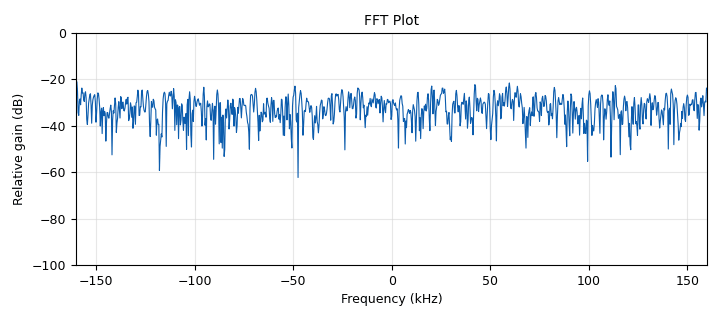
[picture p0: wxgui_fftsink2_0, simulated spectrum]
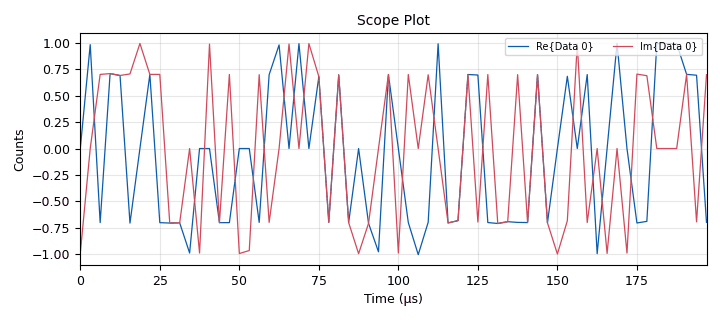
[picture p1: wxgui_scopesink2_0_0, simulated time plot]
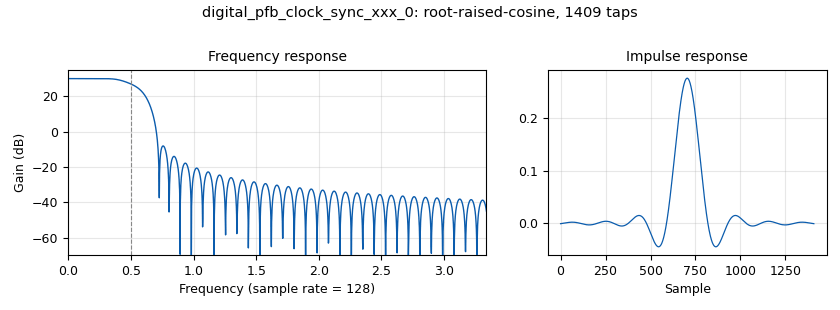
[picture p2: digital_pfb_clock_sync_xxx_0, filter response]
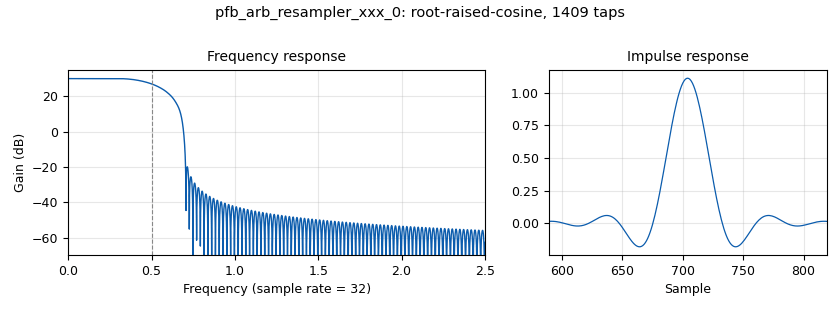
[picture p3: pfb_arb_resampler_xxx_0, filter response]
<?xml version='1.0' encoding='utf-8'?>
<?grc format='1' created='3.7.9'?>
<flow_graph>
<block>
<key>options</key>
<param><key>id</key><value>top_block</value></param>
<param><key>category</key><value>Custom</value></param>
<param><key>generate_options</key><value>wx_gui</value></param>
</block>
<block>
<key>variable</key>
<param><key>id</key><value>const_points</value></param>
<param><key>value</key><value>8</value></param>
</block>
<block>
<key>variable</key>
<param><key>id</key><value>excess_bw</value></param>
<param><key>value</key><value>0.4</value></param>
</block>
<block>
<key>variable</key>
<param><key>id</key><value>freq_bw</value></param>
<param><key>value</key><value>2*pi/100</value></param>
</block>
<block>
<key>variable</key>
<param><key>id</key><value>nfilts</value></param>
<param><key>value</key><value>32</value></param>
</block>
<block>
<key>variable</key>
<param><key>id</key><value>ntaps</value></param>
<param><key>value</key><value>11*nfilts*sps</value></param>
</block>
<block>
<key>variable</key>
<param><key>id</key><value>output_sps</value></param>
<param><key>value</key><value>1</value></param>
</block>
<block>
<key>variable</key>
<param><key>id</key><value>rx_taps</value></param>
<param><key>value</key><value>firdes.root_raised_cosine(nfilts, nfilts*sps, 1.0,excess_bw, ntaps)</value></param>
</block>
<block>
<key>variable</key>
<param><key>id</key><value>samp_rate</value></param>
<param><key>value</key><value>320000</value></param>
</block>
<block>
<key>variable</key>
<param><key>id</key><value>sps</value></param>
<param><key>value</key><value>4</value></param>
</block>
<block>
<key>variable</key>
<param><key>id</key><value>symb_samp_rate</value></param>
<param><key>value</key><value>20000</value></param>
</block>
<block>
<key>variable</key>
<param><key>id</key><value>timing_bw</value></param>
<param><key>value</key><value>2*pi/100</value></param>
</block>
<block>
<key>variable</key>
<param><key>id</key><value>tx_taps</value></param>
<param><key>value</key><value>firdes.root_raised_cosine(nfilts,nfilts,1.0,excess_bw,ntaps)</value></param>
</block>
<block>
<key>analog_phase_modulator_fc</key>
<param><key>id</key><value>analog_phase_modulator_fc_0</value></param>
<param><key>sensitivity</key><value>-1</value></param>
</block>
<block>
<key>analog_random_source_x</key>
<param><key>id</key><value>analog_random_source_x_0_0</value></param>
<param><key>max</key><value>const_points</value></param>
<param><key>min</key><value>0</value></param>
<param><key>num_samps</key><value>1000</value></param>
<param><key>type</key><value>byte</value></param>
<param><key>repeat</key><value>True</value></param>
</block>
<block>
<key>analog_sig_source_x</key>
<param><key>id</key><value>analog_sig_source_x_0</value></param>
<param><key>amp</key><value>1</value></param>
<param><key>freq</key><value>10e3</value></param>
<param><key>offset</key><value>0</value></param>
<param><key>type</key><value>complex</value></param>
<param><key>samp_rate</key><value>samp_rate*sps</value></param>
<param><key>waveform</key><value>analog.GR_COS_WAVE</value></param>
</block>
<block>
<key>blocks_complex_to_arg</key>
<param><key>id</key><value>blocks_complex_to_arg_0</value></param>
</block>
<block>
<key>blocks_complex_to_arg</key>
<param><key>id</key><value>blocks_complex_to_arg_0_0</value></param>
</block>
<block>
<key>blocks_delay</key>
<param><key>id</key><value>blocks_delay_0</value></param>
<param><key>delay</key><value>1</value></param>
<param><key>type</key><value>complex</value></param>
</block>
<block>
<key>blocks_multiply_conjugate_cc</key>
<param><key>id</key><value>blocks_multiply_conjugate_cc_0</value></param>
</block>
<block>
<key>blocks_multiply_conjugate_cc</key>
<param><key>id</key><value>blocks_multiply_conjugate_cc_1</value></param>
</block>
<block>
<key>blocks_multiply_const_vxx</key>
<param><key>id</key><value>blocks_multiply_const_vxx_0</value></param>
<param><key>const</key><value>1.0/const_points</value></param>
<param><key>type</key><value>float</value></param>
</block>
<block>
<key>blocks_multiply_const_vxx</key>
<param><key>id</key><value>blocks_multiply_const_vxx_0_0</value></param>
<param><key>const</key><value>1.0/const_points</value></param>
<param><key>type</key><value>float</value></param>
</block>
<block>
<key>blocks_multiply_xx</key>
<param><key>id</key><value>blocks_multiply_xx_0</value></param>
<param><key>type</key><value>complex</value></param>
</block>
<block>
<key>blocks_multiply_xx</key>
<param><key>id</key><value>blocks_multiply_xx_1</value></param>
<param><key>type</key><value>complex</value></param>
</block>
<block>
<key>blocks_multiply_xx</key>
<param><key>id</key><value>blocks_multiply_xx_1_0</value></param>
<param><key>type</key><value>complex</value></param>
</block>
<block>
<key>blocks_multiply_xx</key>
<param><key>id</key><value>blocks_multiply_xx_2</value></param>
<param><key>type</key><value>complex</value></param>
</block>
<block>
<key>blocks_multiply_xx</key>
<param><key>id</key><value>blocks_multiply_xx_2_0</value></param>
<param><key>type</key><value>complex</value></param>
</block>
<block>
<key>blocks_multiply_xx</key>
<param><key>id</key><value>blocks_multiply_xx_2_0_0</value></param>
<param><key>type</key><value>complex</value></param>
</block>
<block>
<key>blocks_multiply_xx</key>
<param><key>id</key><value>blocks_multiply_xx_2_1</value></param>
<param><key>type</key><value>complex</value></param>
</block>
<block>
<key>blocks_multiply_xx</key>
<param><key>id</key><value>blocks_multiply_xx_3</value></param>
<param><key>type</key><value>complex</value></param>
</block>
<block>
<key>blocks_throttle</key>
<param><key>id</key><value>blocks_throttle_0</value></param>
<param><key>samples_per_second</key><value>samp_rate</value></param>
<param><key>type</key><value>complex</value></param>
</block>
<block>
<key>blocks_vco_c</key>
<param><key>id</key><value>blocks_vco_c_0_0</value></param>
<param><key>amplitude</key><value>1</value></param>
<param><key>samp_rate</key><value>samp_rate</value></param>
<param><key>sensitivity</key><value>samp_rate</value></param>
</block>
<block>
<key>digital_chunks_to_symbols_xx</key>
<param><key>id</key><value>digital_chunks_to_symbols_xx_0_0</value></param>
<param><key>dimension</key><value>1</value></param>
<param><key>in_type</key><value>byte</value></param>
<param><key>out_type</key><value>complex</value></param>
<param><key>symbol_table</key><value>((1+0j),(1+1j)/sqrt(2),(0+1j),(1-1j)/sqrt(2),(-1 + 0j),(-1-1j)/sqrt(2),(0-1j),(-1+1j)/sqrt(2))</value></param>
</block>
<block>
<key>digital_pfb_clock_sync_xxx</key>
<param><key>id</key><value>digital_pfb_clock_sync_xxx_0</value></param>
<param><key>filter_size</key><value>nfilts</value></param>
<param><key>init_phase</key><value>16</value></param>
<param><key>loop_bw</key><value>timing_bw</value></param>
<param><key>max_dev</key><value>1.5</value></param>
<param><key>osps</key><value>1</value></param>
<param><key>sps</key><value>sps</value></param>
<param><key>taps</key><value>rx_taps</value></param>
<param><key>type</key><value>ccf</value></param>
</block>
<block>
<key>import</key>
<param><key>id</key><value>import_0</value></param>
<param><key>import</key><value>from math import pi</value></param>
</block>
<block>
<key>notebook</key>
<param><key>id</key><value>notebook_1</value></param>
<param><key>labels</key><value>['time', 'fft','out','new']</value></param>
<param><key>style</key><value>wx.NB_TOP</value></param>
</block>
<block>
<key>pfb_arb_resampler_xxx</key>
<param><key>id</key><value>pfb_arb_resampler_xxx_0</value></param>
<param><key>nfilts</key><value>32</value></param>
<param><key>rrate</key><value>sps</value></param>
<param><key>atten</key><value>100</value></param>
<param><key>taps</key><value>tx_taps</value></param>
<param><key>type</key><value>ccf</value></param>
</block>
<block>
<key>import</key>
<param><key>id</key><value>sqrt</value></param>
<param><key>import</key><value>from math import sqrt</value></param>
</block>
<block>
<key>wxgui_fftsink2</key>
<param><key>id</key><value>wxgui_fftsink2_0</value></param>
<param><key>avg_alpha</key><value>0</value></param>
<param><key>average</key><value>False</value></param>
<param><key>baseband_freq</key><value>0</value></param>
<param><key>fft_size</key><value>1024</value></param>
<param><key>freqvar</key><value>None</value></param>
<param><key>notebook</key><value>notebook_1,1</value></param>
<param><key>peak_hold</key><value>False</value></param>
<param><key>ref_level</key><value>0</value></param>
<param><key>ref_scale</key><value>2.0</value></param>
<param><key>fft_rate</key><value>15</value></param>
<param><key>samp_rate</key><value>samp_rate</value></param>
<param><key>title</key><value>FFT Plot</value></param>
<param><key>type</key><value>complex</value></param>
<param><key>win</key><value>None</value></param>
<param><key>y_divs</key><value>10</value></param>
<param><key>y_per_div</key><value>10</value></param>
</block>
<block>
<key>wxgui_scopesink2</key>
<param><key>id</key><value>wxgui_scopesink2_0_0</value></param>
<param><key>ac_couple</key><value>False</value></param>
<param><key>notebook</key><value>notebook_1,0</value></param>
<param><key>num_inputs</key><value>1</value></param>
<param><key>samp_rate</key><value>samp_rate</value></param>
<param><key>t_scale</key><value>0</value></param>
<param><key>title</key><value>Scope Plot</value></param>
<param><key>trig_mode</key><value>wxgui.TRIG_MODE_AUTO</value></param>
<param><key>type</key><value>complex</value></param>
<param><key>v_offset</key><value>0</value></param>
<param><key>v_scale</key><value>0</value></param>
<param><key>xy_mode</key><value>False</value></param>
<param><key>y_axis_label</key><value>Counts</value></param>
</block>
<connection><source_block_id>analog_phase_modulator_fc_0</source_block_id><sink_block_id>blocks_multiply_xx_3</sink_block_id><source_key>0</source_key><sink_key>1</sink_key></connection>
<connection><source_block_id>analog_random_source_x_0_0</source_block_id><sink_block_id>digital_chunks_to_symbols_xx_0_0</sink_block_id><source_key>0</source_key><sink_key>0</sink_key></connection>
<connection><source_block_id>analog_sig_source_x_0</source_block_id><sink_block_id>blocks_multiply_xx_0</sink_block_id><source_key>0</source_key><sink_key>1</sink_key></connection>
<connection><source_block_id>blocks_complex_to_arg_0</source_block_id><sink_block_id>blocks_multiply_const_vxx_0</sink_block_id><source_key>0</source_key><sink_key>0</sink_key></connection>
<connection><source_block_id>blocks_complex_to_arg_0_0</source_block_id><sink_block_id>blocks_multiply_const_vxx_0_0</sink_block_id><source_key>0</source_key><sink_key>0</sink_key></connection>
<connection><source_block_id>blocks_delay_0</source_block_id><sink_block_id>blocks_multiply_conjugate_cc_0</sink_block_id><source_key>0</source_key><sink_key>1</sink_key></connection>
<connection><source_block_id>blocks_multiply_conjugate_cc_0</source_block_id><sink_block_id>blocks_complex_to_arg_0</sink_block_id><source_key>0</source_key><sink_key>0</sink_key></connection>
<connection><source_block_id>blocks_multiply_conjugate_cc_1</source_block_id><sink_block_id>blocks_multiply_xx_1_0</sink_block_id><source_key>0</source_key><sink_key>0</sink_key></connection>
<connection><source_block_id>blocks_multiply_conjugate_cc_1</source_block_id><sink_block_id>blocks_multiply_xx_1_0</sink_block_id><source_key>0</source_key><sink_key>1</sink_key></connection>
<connection><source_block_id>blocks_multiply_conjugate_cc_1</source_block_id><sink_block_id>blocks_multiply_xx_3</sink_block_id><source_key>0</source_key><sink_key>0</sink_key></connection>
<connection><source_block_id>blocks_multiply_const_vxx_0</source_block_id><sink_block_id>blocks_vco_c_0_0</sink_block_id><source_key>0</source_key><sink_key>0</sink_key></connection>
<connection><source_block_id>blocks_multiply_const_vxx_0_0</source_block_id><sink_block_id>analog_phase_modulator_fc_0</sink_block_id><source_key>0</source_key><sink_key>0</sink_key></connection>
<connection><source_block_id>blocks_multiply_xx_0</source_block_id><sink_block_id>digital_pfb_clock_sync_xxx_0</sink_block_id><source_key>0</source_key><sink_key>0</sink_key></connection>
<connection><source_block_id>blocks_multiply_xx_1</source_block_id><sink_block_id>blocks_multiply_xx_2</sink_block_id><source_key>0</source_key><sink_key>0</sink_key></connection>
<connection><source_block_id>blocks_multiply_xx_1</source_block_id><sink_block_id>blocks_multiply_xx_2</sink_block_id><source_key>0</source_key><sink_key>1</sink_key></connection>
<connection><source_block_id>blocks_multiply_xx_1_0</source_block_id><sink_block_id>blocks_multiply_xx_2_1</sink_block_id><source_key>0</source_key><sink_key>0</sink_key></connection>
<connection><source_block_id>blocks_multiply_xx_1_0</source_block_id><sink_block_id>blocks_multiply_xx_2_1</sink_block_id><source_key>0</source_key><sink_key>1</sink_key></connection>
<connection><source_block_id>blocks_multiply_xx_2</source_block_id><sink_block_id>blocks_multiply_xx_2_0</sink_block_id><source_key>0</source_key><sink_key>0</sink_key></connection>
<connection><source_block_id>blocks_multiply_xx_2</source_block_id><sink_block_id>blocks_multiply_xx_2_0</sink_block_id><source_key>0</source_key><sink_key>1</sink_key></connection>
<connection><source_block_id>blocks_multiply_xx_2_0</source_block_id><sink_block_id>blocks_delay_0</sink_block_id><source_key>0</source_key><sink_key>0</sink_key></connection>
<connection><source_block_id>blocks_multiply_xx_2_0</source_block_id><sink_block_id>blocks_multiply_conjugate_cc_0</sink_block_id><source_key>0</source_key><sink_key>0</sink_key></connection>
<connection><source_block_id>blocks_multiply_xx_2_0_0</source_block_id><sink_block_id>blocks_complex_to_arg_0_0</sink_block_id><source_key>0</source_key><sink_key>0</sink_key></connection>
<connection><source_block_id>blocks_multiply_xx_2_1</source_block_id><sink_block_id>blocks_multiply_xx_2_0_0</sink_block_id><source_key>0</source_key><sink_key>0</sink_key></connection>
<connection><source_block_id>blocks_multiply_xx_2_1</source_block_id><sink_block_id>blocks_multiply_xx_2_0_0</sink_block_id><source_key>0</source_key><sink_key>1</sink_key></connection>
<connection><source_block_id>blocks_multiply_xx_3</source_block_id><sink_block_id>wxgui_fftsink2_0</sink_block_id><source_key>0</source_key><sink_key>0</sink_key></connection>
<connection><source_block_id>blocks_multiply_xx_3</source_block_id><sink_block_id>wxgui_scopesink2_0_0</sink_block_id><source_key>0</source_key><sink_key>0</sink_key></connection>
<connection><source_block_id>blocks_throttle_0</source_block_id><sink_block_id>pfb_arb_resampler_xxx_0</sink_block_id><source_key>0</source_key><sink_key>0</sink_key></connection>
<connection><source_block_id>blocks_vco_c_0_0</source_block_id><sink_block_id>blocks_multiply_conjugate_cc_1</sink_block_id><source_key>0</source_key><sink_key>1</sink_key></connection>
<connection><source_block_id>digital_chunks_to_symbols_xx_0_0</source_block_id><sink_block_id>blocks_throttle_0</sink_block_id><source_key>0</source_key><sink_key>0</sink_key></connection>
<connection><source_block_id>digital_pfb_clock_sync_xxx_0</source_block_id><sink_block_id>blocks_multiply_conjugate_cc_1</sink_block_id><source_key>0</source_key><sink_key>0</sink_key></connection>
<connection><source_block_id>digital_pfb_clock_sync_xxx_0</source_block_id><sink_block_id>blocks_multiply_xx_1</sink_block_id><source_key>0</source_key><sink_key>0</sink_key></connection>
<connection><source_block_id>digital_pfb_clock_sync_xxx_0</source_block_id><sink_block_id>blocks_multiply_xx_1</sink_block_id><source_key>0</source_key><sink_key>1</sink_key></connection>
<connection><source_block_id>pfb_arb_resampler_xxx_0</source_block_id><sink_block_id>blocks_multiply_xx_0</sink_block_id><source_key>0</source_key><sink_key>0</sink_key></connection>
</flow_graph>
